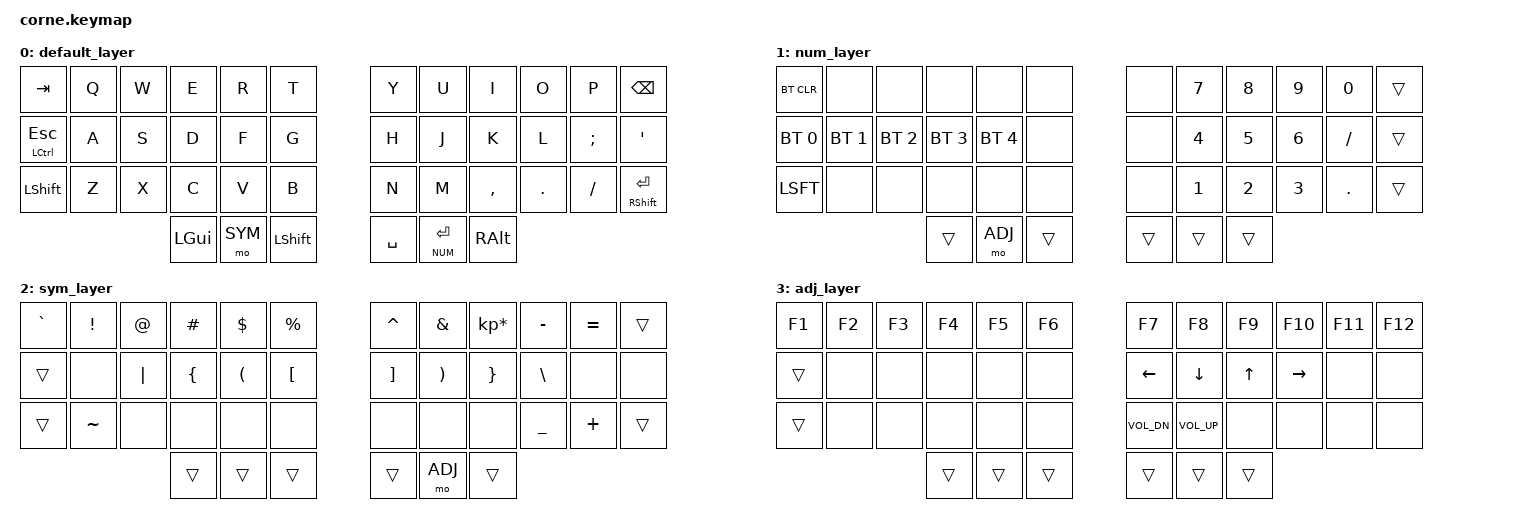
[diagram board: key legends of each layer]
#include <behaviors.dtsi>
#include <dt-bindings/zmk/keys.h>
#include <dt-bindings/zmk/bt.h>

#define DEFAULT 0
#define NUM 1
#define SYM 2
#define ADJ 3

&lt {
    tapping-term-ms = <100>;
};

&kscan0 {
    debounce-press-ms = <6>;
    debounce-release-ms = <6>;
};

/ {
        behaviors {
            hm: hm {
                compatible = "zmk,behavior-hold-tap";
                label = "HOMEROW_MODS";
                #binding-cells = <2>;
                tapping-term-ms = <200>;
                quick-tap-ms = <200>;
                flavor = "tap-preferred";
                bindings = <&kp>, <&kp>;
            };
        };

        keymap {
                compatible = "zmk,keymap";

                default_layer {
// -----------------------------------------------------------------------------------------
// |    TAB    |  Q  |  W  |  E  |  R  |  T   |   |  Y  |  U   |  I  |  O  |  P  |   BKSP    |
// | CTRL(ESC) |  A  |  S  |  D  |  F  |  G   |   |  H  |  J   |  K  |  L  |  ;  |     '     |
// |   SHFT    |  Z  |  X  |  C  |  V  |  B   |   |  N  |  M   |  ,  |  .  |  /  | RSFT(ENT) |
//                    | GUI | SYM | SHFT |   | SPC | NUM  | ALT |
                        bindings = <
   &kp TAB       &kp Q &kp W &kp E    &kp R   &kp T       &kp Y     &kp U       &kp I     &kp O   &kp P    &kp BSPC
   &hm LCTRL ESC &kp A &kp S &kp D    &kp F   &kp G       &kp H     &kp J       &kp K     &kp L   &kp SEMI &kp SQT
   &kp LSHFT     &kp Z &kp X &kp C    &kp V   &kp B       &kp N     &kp M       &kp COMMA &kp DOT &kp FSLH &hm RSHFT RET
                             &kp LGUI &mo SYM &kp LSHFT   &kp SPACE &lt NUM RET &kp RALT
                        >;
                };
                num_layer {
// -----------------------------------------------------------------------------------------
// |BTCLR|     |     |     |     |   |     |  7  |  8  |  9  |  0  |   |
// | BT1 | BT2 | BT3 | BT4 | BT5 |   |     |  4  |  5  |  6  |  /  |   |
// | SFT |     |     |     |     |   |     |  1  |  2  |  3  |  .  |   |
//             |     | ADJ |     |   |     |     |     |
                        bindings = <
   &bt BT_CLR   &none        &none        &none        &none        &none       &none  &kp N7 &kp N8 &kp N9 &kp N0   &trans
   &bt BT_SEL 0 &bt BT_SEL 1 &bt BT_SEL 2 &bt BT_SEL 3 &bt BT_SEL 4 &none       &none  &kp N4 &kp N5 &kp N6 &kp FSLH &trans
   &kp LSFT     &none        &none        &none        &none        &none       &none  &kp N1 &kp N2 &kp N3 &kp DOT  &trans
                                          &trans       &mo ADJ      &trans      &trans &trans &trans
                        >;
                };

                sym_layer {
// -----------------------------------------------------------------------------------------
// | ` |  !  |  @  |  #  |  $  |  %  |     |  ^  |  &  |  *  |  -  | = | BKSP |
// |   |     |  |  |  {  |  (  |  [  |     |  ]  |  )  |  }  |  \  |   |      |
// |   |  ~  |     |     |     |     |     |     |     |     |  _  | + |      |
//                 |     |     |     |     |     | ADJ |     |
                        bindings = <
   &kp GRAVE &kp EXCL  &kp AT    &kp HASH &kp DLLR &kp PRCNT    &kp CARET &kp AMPS &kp KP_MULTIPLY &kp MINUS &kp EQUAL &trans
   &trans    &none     &kp PIPE  &kp LBRC &kp LPAR &kp LBKT     &kp RBKT  &kp RPAR &kp RBRC        &kp BSLH  &none     &none
   &trans    &kp TILDE &none     &none    &none    &none        &none     &none    &none           &kp UNDER &kp PLUS  &trans
                                 &trans   &trans   &trans       &trans    &mo ADJ  &trans
                        >;
                };

                adj_layer {
// -----------------------------------------------------------------------------------------
// | F1  | F2  | F3  | F4  | F5  | F6  |     |  F7  |  F8  | F9  | F10 | F11 | F12 |
// |     |     |     |     |     |     |     |  <-  |   v  |  ^  | ->  |     |
// |     |     |     |     |     |     |     | VOLD | VOLU |     |     |     |
//                   |     |     |     |     |      |      |     |
                        bindings = <
   &kp F1 &kp F2 &kp F3 &kp F4 &kp F5 &kp F6     &kp F7       &kp F8       &kp F9 &kp F10   &kp F11 &kp F12
   &trans &none  &none  &none  &none  &none      &kp LEFT     &kp DOWN     &kp UP &kp RIGHT &none   &none
   &trans &none  &none  &none  &none  &none      &kp C_VOL_DN &kp C_VOL_UP &none  &none     &none   &none
                        &trans &trans &trans     &trans   &trans   &trans
                        >;
                };
        };
};

